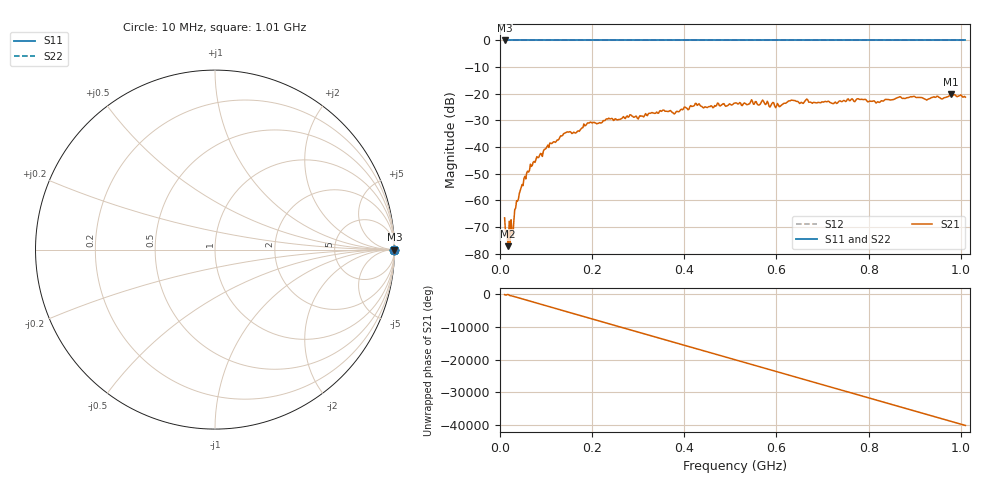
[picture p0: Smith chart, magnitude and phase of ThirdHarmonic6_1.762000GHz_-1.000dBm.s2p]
! 8/16/2025 9:16:33 PM
! C:\ANRITSUVNA\TEMP\TEMP.S2P
! CHANNEL.1
! TR.MEASUREMENT
! RAW.DATA
! RF.CORRECTION.OFF
! AVERAGING.OFF
! IF.BANDWIDTH: 5KHZ
! SWEEPTYPE:  FREQ.SWEEP(Linear)
! Reference Plane Port Info
! PORT:  PORT1  PORT2
! DISTANCE:  0  m  0  m
! TIME:  0  s  0  s
! PHASE.OFFSET:  0  deg.  0  deg.
! LOSS:  0  dB  0  dB
! REF.LOSS:  0  dB  0  dB
! REF.FREQ:  0  Hz  0  Hz
! Power Info
! POWER:  -20  dBm  -20  dBm
! EFF.POWER:  -20  dBm  -20  dBm
! SOURCE.ATTEN:  0  dB  0  dB
! TEST.ATTEN:  0  dB  0  dB
# GHZ S RI R 50.0
! FREQ.GHZ  S11RE  S11IM  S21RE  S21IM  S12RE  S12IM  S22RE  S22IM
!; PortSelection: Port_12
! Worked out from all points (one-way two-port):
!   501 points, 10 MHz to 1.01 GHz, reference 50 ohm
!   highest |S21| = -20.12 dB at 978 MHz (marker M1); lowest = -77.2 dB at 18 MHz (marker M2)
!   lowest |S11| = 0.0 dB at 10 MHz (marker M3)
!   |S11| at or under -10 dB: nowhere
!   |S22| runs from 0.0 to 0.0 dB; largest |S21 - S12| = 1.1
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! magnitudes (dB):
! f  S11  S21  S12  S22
! 10 MHz  0.0  -66.6  0.0  0.0
! 14 MHz  0.0  -71.3  0.0  0.0
! 18 MHz  0.0  -77.2  0.0  0.0
! 26 MHz  0.0  -71.8  0.0  0.0
! 36 MHz  0.0  -60.1  0.0  0.0
! 50 MHz  0.0  -54.5  0.0  0.0
! 70 MHz  0.0  -46.9  0.0  0.0
! 106 MHz  0.0  -40.1  0.0  0.0
! 142 MHz  0.0  -34.6  0.0  0.0
! 178 MHz  0.0  -32.8  0.0  0.0
! 234 MHz  0.0  -29.5  0.0  0.0
! 344 MHz  0.0  -27.3  0.0  0.0
! 378 MHz  0.0  -27.6  0.0  0.0
! 428 MHz  0.0  -24.3  0.0  0.0
! 446 MHz  0.0  -24.9  0.0  0.0
! 510 MHz  0.0  -23.5  0.0  0.0
! 602 MHz  0.0  -23.6  0.0  0.0
! 632 MHz  0.0  -22.4  0.0  0.0
! 678 MHz  0.0  -23.6  0.0  0.0
! 844 MHz  0.0  -22.2  0.0  0.0
! 978 MHz  0.0  -20.1  0.0  0.0
! 1.01 GHz  0.0  -21.3  0.0  0.0
